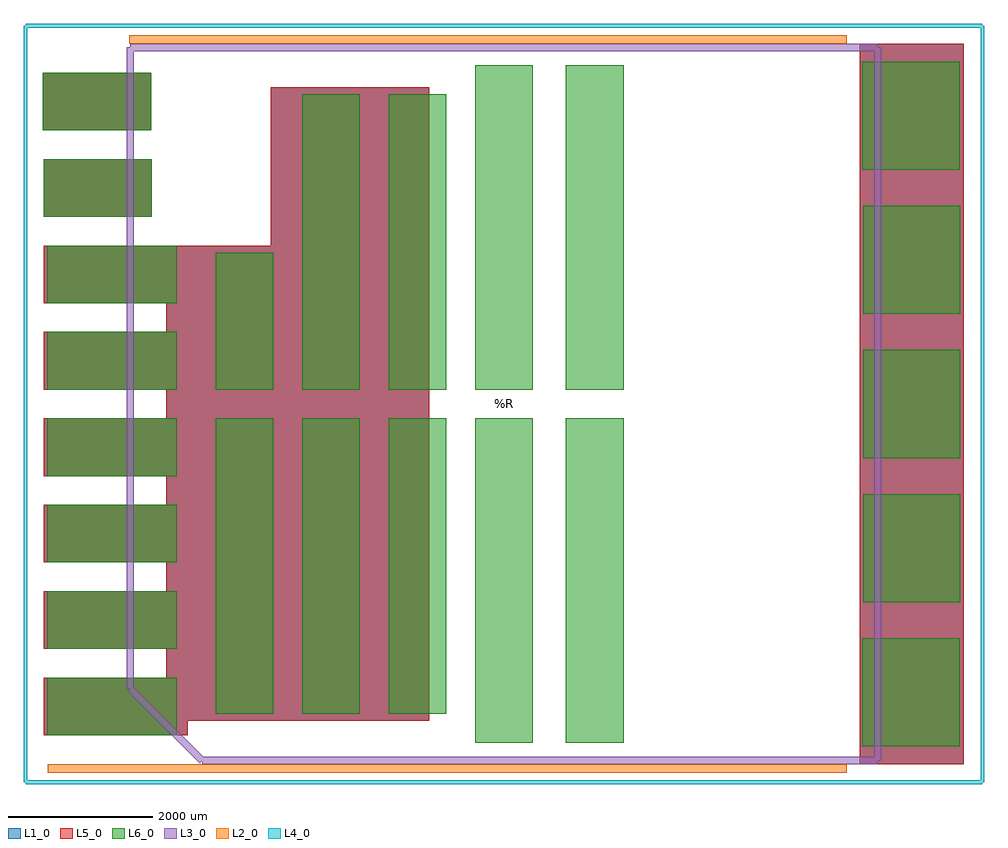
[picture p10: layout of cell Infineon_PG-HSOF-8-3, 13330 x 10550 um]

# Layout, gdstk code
import gdstk
lib = gdstk.Library(unit=1e-6, precision=1e-09)
def R(c, l, rs):  # rectangles x0, y0, x1, y1
    for r in rs: c.add(gdstk.rectangle(r[:2], r[2:], *l))
def A(c, l, x, y, w, h, nx, ny, dx, dy):  # array of equal rectangles
    R(c, l, [(x+i*dx, y+j*dy, x+i*dx+w, y+j*dy+h) for i in range(nx) for j in range(ny)])
def P(c, l, *ps):  # polygons
    for p in ps: c.add(gdstk.Polygon(p, *l))
L1_0 = (1, 0)
L2_0 = (2, 0)
L3_0 = (3, 0)
L4_0 = (4, 0)
L5_0 = (5, 0)
L6_0 = (6, 0)

infineon_pg_hsof_8_3 = lib.new_cell('Infineon_PG-HSOF-8-3')
R(infineon_pg_hsof_8_3, L1_0, [(4935,-5000,6385,5000), (-6390,2600,-4890,3400), (-6400,3800,-4900,4600)])
P(infineon_pg_hsof_8_3, L1_0, [(-1040,-4400),(-1040,4400),(-3240,4400),(-3240,2200),(-6390,2200),(-6390,1400),(-4690,1400),(-4690,1000),(-6390,1000),(-6390,200),(-4690,200),(-4690,-200),(-6390,-200),(-6390,-1000),(-4690,-1000),(-4690,-1400),(-6390,-1400),(-6390,-2200),(-4690,-2200),(-4690,-2600),(-6390,-2600),(-6390,-3400),(-4690,-3400),(-4690,-3800),(-6390,-3800),(-6390,-4600),(-4390,-4600),(-4390,-4400)])
R(infineon_pg_hsof_8_3, L5_0, [(4935,-5000,6385,5000), (-6390,2600,-4890,3400), (-6400,3800,-4900,4600)])
P(infineon_pg_hsof_8_3, L5_0, [(-1040,-4400),(-1040,4400),(-3240,4400),(-3240,2200),(-6390,2200),(-6390,1400),(-4690,1400),(-4690,1000),(-6390,1000),(-6390,200),(-4690,200),(-4690,-200),(-6390,-200),(-6390,-1000),(-4690,-1000),(-4690,-1400),(-6390,-1400),(-6390,-2200),(-4690,-2200),(-4690,-2600),(-6390,-2600),(-6390,-3400),(-4690,-3400),(-4690,-3800),(-6390,-3800),(-6390,-4600),(-4390,-4600),(-4390,-4400)])
A(infineon_pg_hsof_8_3, L6_0, -6340, -4600, 1800, 800, 1, 6, 0, 1200)
A(infineon_pg_hsof_8_3, L6_0, -4000, -4300, 800, 4100, 3, 1, 1200, 0)
A(infineon_pg_hsof_8_3, L6_0, 4985, -2750, 1350, 1500, 1, 3, 0, 2000)
R(infineon_pg_hsof_8_3, L6_0, [(4975,-4750,6325,-3250), (-400,-4700,400,-200), (860,-4700,1660,-200), (-4000,200,-3200,2100), (-2800,200,-2000,4300), (-1600,200,-800,4300), (-400,200,400,4700), (860,200,1660,4700), (-6390,2600,-4890,3400), (4975,3250,6325,4750), (-6400,3800,-4900,4600)])
infineon_pg_hsof_8_3.add(gdstk.FlexPath([(-4188,-4950),(-5188,-3950)], 100, ends="flush", simple_path=True, layer=3, datatype=0))  # L3_0
infineon_pg_hsof_8_3.add(gdstk.FlexPath([(6640,-5250),(6640,5250)], 50, ends="flush", simple_path=True, layer=4, datatype=0))  # L4_0
infineon_pg_hsof_8_3.add(gdstk.FlexPath([(-6640,5250),(-6640,-5250)], 50, ends="flush", simple_path=True, layer=4, datatype=0))  # L4_0
infineon_pg_hsof_8_3.add(gdstk.FlexPath([(-6640,5250),(6640,5250)], 50, ends="flush", simple_path=True, layer=4, datatype=0))  # L4_0
infineon_pg_hsof_8_3.add(gdstk.FlexPath([(6640,-5250),(-6640,-5250)], 50, ends="flush", simple_path=True, layer=4, datatype=0))  # L4_0
infineon_pg_hsof_8_3.add(gdstk.FlexPath([(-5200,5060),(4755,5060)], 120, ends="flush", simple_path=True, layer=2, datatype=0))  # L2_0
infineon_pg_hsof_8_3.add(gdstk.FlexPath([(4755,-5060),(-6330,-5060)], 120, ends="flush", simple_path=True, layer=2, datatype=0))  # L2_0
infineon_pg_hsof_8_3.add(gdstk.FlexPath([(5188,-4950),(5188,4950)], 100, ends="flush", simple_path=True, layer=3, datatype=0))  # L3_0
infineon_pg_hsof_8_3.add(gdstk.FlexPath([(5188,4950),(-5188,4950)], 100, ends="flush", simple_path=True, layer=3, datatype=0))  # L3_0
infineon_pg_hsof_8_3.add(gdstk.FlexPath([(-5188,4950),(-5188,-3950)], 100, ends="flush", simple_path=True, layer=3, datatype=0))  # L3_0
infineon_pg_hsof_8_3.add(gdstk.FlexPath([(-4188,-4950),(5188,-4950)], 100, ends="flush", simple_path=True, layer=3, datatype=0))  # L3_0
infineon_pg_hsof_8_3.add(gdstk.Label('REF**', (0,-6000), layer=2, texttype=0))
infineon_pg_hsof_8_3.add(gdstk.Label('Infineon_PG-HSOF-8-3', (0,6000), layer=3, texttype=0))
infineon_pg_hsof_8_3.add(gdstk.Label('%R', (0,0), layer=3, texttype=0))

lib.write_gds('Infineon_PG-HSOF-8-3.gds')
